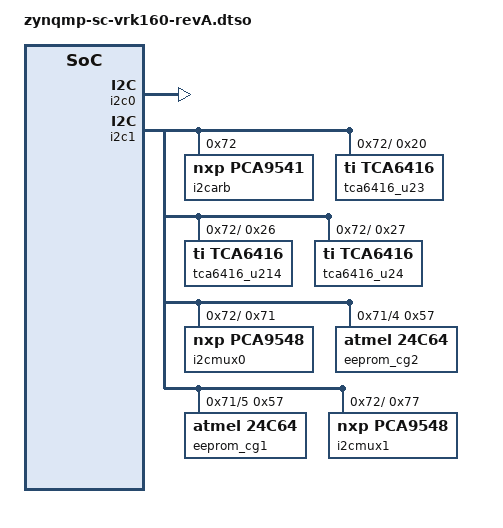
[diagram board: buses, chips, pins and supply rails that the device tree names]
// SPDX-License-Identifier: GPL-2.0
/*
 * dts file for SC on VRK160 revA (k24)
 *
 * (C) Copyright 2025, Advanced Micro Devices, Inc.
 *
 * Michal Simek <michal.simek@amd.com>
 */

/dts-v1/;
/plugin/;

&{/} {
	compatible = "xlnx,zynqmp-sc-vrk160-revA",
		     "xlnx,zynqmp-sc-vrk160", "xlnx,zynqmp";
	model = "ZynqMP SC VRK160 revA";
};

&i2c0 { /* I2C_SCK C23/C24 - MIO 66/67 */
	status = "okay";
	/* board_i2c0 */
};

&i2c1 { /* I2C_SCK C23/C24 - MIO from SOM */
	#address-cells = <1>;
	#size-cells = <0>;

	i2carb: i2c-arbitrator@72 { /* u18 */
		compatible = "nxp,pca9541";
		reg = <0x72>;

		i2carb1: i2c-arb {
			#address-cells = <1>;
			#size-cells = <0>;
			/* board_i2c1 */

			tca6416_u23: gpio@20 { /* u23 */
				compatible = "ti,tca6416";
				reg = <0x20>;
				gpio-controller; /* interrupt on MIO69 */
				#gpio-cells = <2>;
				gpio-line-names = "SFP_04_TX_FAULT", "SFP_04_RX_LOS", "SFP_04_MOD_ABS", "SFP_04_TX_DISABLE", /* 0 - 3 */
						"SFP_04_RS0", "SFP_04_RS1", "", "", /* 4 - 7 */
						"FMCP1_FMC_PRSNT_M2C_B", "FMCP1_FMCP_PRSNT_M2C_B", "PMBUS4_INA_ALERT", "PMBUS3_INA_ALERT", /* 10 - 13 */
						"PMBUS2_INA_ALERT", "PMBUS1_INA_ALERT", "PMBUS1_NIRQ", "PMBUS1_ALERT"; /* 14 - 17 */
			};

			tca6416_u214: gpio@26 { /* u214 */
				compatible = "ti,tca6416";
				reg = <0x26>;
				gpio-controller; /* interrupt on MIO69 */
				#gpio-cells = <2>;
				gpio-line-names = "SFP_02_TX_FAULT", "SFP_02_RX_LOS", "SFP_02_MOD_ABS", "SFP_02_TX_DISABLE", /* 0 - 3 */
						"SFP_02_RS0", "SFP_02_RS1", "", "", /* 4 - 7 */
						"SFP_03_TX_FAULT", "SFP_03_RX_LOS", "SFP_03_MOD_ABS", "SFP_03_TX_DISABLE", /* 10 - 13 */
						"SFP_03_RS0", "SFP_03_RS1", "", ""; /* 14 - 17 */
			};

			tca6416_u24: gpio@27 { /* u24 */
				compatible = "ti,tca6416";
				reg = <0x27>;
				gpio-controller; /* interrupt on MIO69 */
				#gpio-cells = <2>;
				gpio-line-names = "QSFP1_MODSELL", "QSFP1_RESETL", "QSFP1_MODPRSL", "QSFP1_INTL", /* 0 - 3 */
						"QSFP1_LPMODE", "", "", "", /* 4 - 7 */
						"SFP_01_TX_FAULT", "SFP_01_RX_LOS", "SFP_01_MOD_ABS", "SFP_01_TX_DISABLE", /* 10 - 13 */
						"SFP_01_RS0", "SFP_01_RS1", "", ""; /* 14 - 17 */
			};

			i2cmux0: i2c-mux@71 { /* u162 */
				compatible = "nxp,pca9548";
				#address-cells = <1>;
				#size-cells = <0>;
				reg = <0x71>;
				i2cmux0_0: i2c@0 {
					#address-cells = <1>;
					#size-cells = <0>;
					reg = <0>;
					/* pmbus1 */
					/* J3 connector */
					/* u136 mpq2283 0x12 */
					/* u146 mpq2283 0x1a */
					/* u148 mpq2283 0x1c */
					/* u143 mpq2285 0x1d */
					/* u55 mpq72963 0x22 */
					/* u31 mpq72963 0x23 */
					/* u46 mpq72963 0x24 */
					/* u167 ucd90320 0x77 */
				};
				i2cmux0_1: i2c@1 {
					#address-cells = <1>;
					#size-cells = <0>;
					reg = <1>;
					/* pmbus2 */
					/* J4 connector */
					/* u142 mpq2283 0x1 */
					/* u149 mpq2285 0x2 */
					/* u151 mpq2283 0x3 */
					/* u152 mpq2283 0x4 */
					/* u134 mpq2283 0x1e */
					/* u135 mpq2283 0x1f */
					/* u137 mpq2283 0x13 */
					/* u138 mpq2283 0x14 */
					/* u139 mpq2283 0x16 */
					/* u140 mpq2283 0x17 */
					/* u141 mpq2283 0x18 */
					/* u145 mpq2283 0x19 */
					/* u147 mpq2283 0x1b */
					/* u6 mp54522 61 */
					/* u7 mp54522 62 */
					/* u8 mp54322 63 */
					/* u9 mp54322 64 */
				};
				i2cmux0_2: i2c@2 {
					#address-cells = <1>;
					#size-cells = <0>;
					reg = <2>;
					/* pmbus1_ina */
					/* u42 ina745a 0x40 vccint_gt_bus */
					/* u57 ina745a 0x41 vcc_soc_bus */
					/* u45 ina745a 0x44 lp5_vcco_1v0 */
					/* u153 ina700a 0x45 vccaux_pmc */
					/* u154 ina700a 0x46 vcco_50x */
					/* u155 ina700a 0x47 vcco_io */
					/* u37 ina745a 0x48 vccint_bus1 */
					/* u39 ina745a 0x49 vccint_bus2 */
					/* u38 ina745a 0x4a vccint_bus3 */
					/* u40 ina745a 0x4b vccint_bus4 */
					/* u41 ina745a 0x4C vccint_bus5 */
				};
				i2cmux0_3: i2c@3 {
					#address-cells = <1>;
					#size-cells = <0>;
					reg = <3>;
					/* pmbus2_ina */
					/* u156 ina700a 0x44 vcc_pmc */
					/* u157 ina700a 0x45 vcc_ram */
					/* u157 ina700a 0x46 vccaux */
					/* u150 ina700a 0x47 vadj_fmc */
					/* u49 ina745a 0x48 vcc_aie_bus1 */
					/* u50 ina745a 0x49 vcc_aie_bus2 */
				};
				i2cmux0_4: i2c@4 {
					#address-cells = <1>;
					#size-cells = <0>;
					reg = <4>;
					/* clkgen_sit95314_2 */
					/* u211 sit95314 0x69 - 4 outputs */

					eeprom_u212: eeprom@57 { /* also at 0x5f */
						compatible = "atmel,24c64";
						label = "eeprom_cg2";
						reg = <0x57>;
					};
				};
				i2cmux0_5: i2c@5 {
					#address-cells = <1>;
					#size-cells = <0>;
					reg = <5>;
					/* clkgen_sit95314_1 */
					/* u209 sit95314 0x69 - 4 outputs */
					eeprom_u210: eeprom@57 { /* also at 0x5f */
						compatible = "atmel,24c64";
						label = "eeprom_cg1";
						reg = <0x57>;
					};
				};
				i2cmux0_6: i2c@6 {
					#address-cells = <1>;
					#size-cells = <0>;
					reg = <6>;
					/* pmbus3_ina */
					/* u203 ina700a 0x43 adc_avcc */
					/* u159 ina700a 0x44 vcco_302 */
					/* u160 ina700a 0x45 gtyp1_avccaux */
					/* u144 ina700a 0x46 gtyp_avtt */
					/* u133 ina700a 0x47 vcc_psfp */
				};
				i2cmux0_7: i2c@7 {
					#address-cells = <1>;
					#size-cells = <0>;
					reg = <7>;
					/* pmbus4_ina */
					/* u131 ina700a 0x44 vcc_pslp */
					/* u52 ina700a 0x45 gtm_avtt */
					/* u54 ina700a 0x46 gtm_avcc */
				};
			};

			i2cmux1: i2c-mux@77 { /* u20 */
				compatible = "nxp,pca9548";
				#address-cells = <1>;
				#size-cells = <0>;
				reg = <0x77>;
				i2cmux1_0: i2c@0 {
					#address-cells = <1>;
					#size-cells = <0>;
					reg = <0>;
					/* qsfp1 */
				};
				i2cmux1_1: i2c@1 {
					#address-cells = <1>;
					#size-cells = <0>;
					reg = <1>;
					/* sfp_04 */
				};
				i2cmux1_2: i2c@2 {
					#address-cells = <1>;
					#size-cells = <0>;
					reg = <2>;
					/* pmbus5_ina */
					/* u228 ina700a 0x46 dac_avccaux */
					/* u229 ina700a 0x47 adc_avccaux */
				};
				i2cmux1_3: i2c@3 {
					#address-cells = <1>;
					#size-cells = <0>;
					reg = <3>;
					/* pmbus6_ina */
					/* u230 ina700a 0x44 gtm_avccaux */
					/* u231 ina700a 0x45 dac_avtt */
					/* u232 ina700a 0x46 gtyp_avcc */
					/* u233 ina700a 0x47 vcco_x5io */
				};
				i2cmux1_4: i2c@4 {
					#address-cells = <1>;
					#size-cells = <0>;
					reg = <4>;
					/* nc */
				};
				i2cmux1_5: i2c@5 {
					#address-cells = <1>;
					#size-cells = <0>;
					reg = <5>;
					/* sfp_01 */
				};
				i2cmux1_6: i2c@6 {
					#address-cells = <1>;
					#size-cells = <0>;
					reg = <6>;
					/* sfp_02 */
				};
				i2cmux1_7: i2c@7 {
					#address-cells = <1>;
					#size-cells = <0>;
					reg = <7>;
					/* sfp_03 */
				};
			};
		};
	};
};

&zynqmp_dpsub {
	status = "disabled";
};
